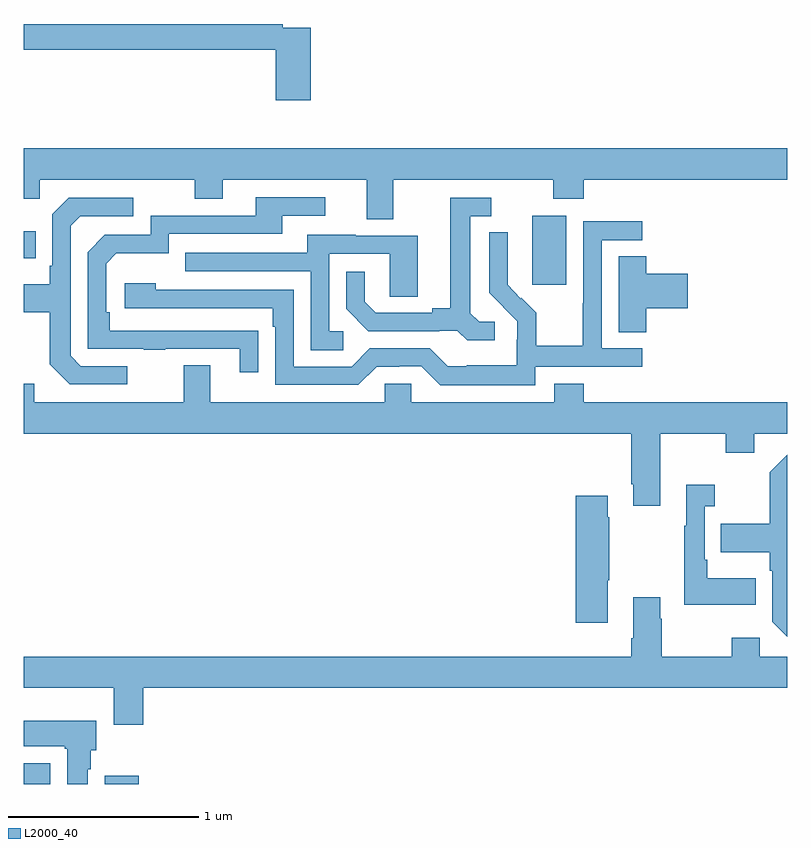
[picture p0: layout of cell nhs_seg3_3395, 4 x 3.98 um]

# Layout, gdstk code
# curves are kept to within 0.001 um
import gdstk
lib = gdstk.Library(unit=1e-6, precision=1e-09)
def R(c, l, rs):  # rectangles x0, y0, x1, y1
    for r in rs: c.add(gdstk.rectangle(r[:2], r[2:], *l))
def P(c, l, *ps):  # polygons
    for p in ps: c.add(gdstk.Polygon(p, *l))
L2000_40 = (2000, 40)

nhs_seg3_3395 = lib.new_cell('nhs_seg3_3395')
R(nhs_seg3_3395, L2000_40, [(287,712.4,287.139,712.51), (287.423,712.4,287.602,712.444), (289.664,715.017,289.843,715.378), (287,715.157,287.063,715.297)])
P(nhs_seg3_3395, L2000_40, [(288.503,716.364),(288.356,716.364),(288.356,716.384),(287,716.384),(287,716.248),(288.32,716.248),(288.32,715.983),(288.503,715.983)],
  [(288.937,715.568),(289.774,715.568),(289.774,715.469),(289.934,715.469),(289.934,715.568),(291,715.568),(291,715.732),(287,715.732),(287,715.469),(287.082,715.469),(287.082,715.568),(287.896,715.568),(287.896,715.469),(288.043,715.469),(288.043,715.568),(288.797,715.568),(288.797,715.36),(288.937,715.36)],
  [(288.227,714.776),(287.45,714.777),(287.45,714.874),(287.43,714.874),(287.43,715.128),(287.483,715.181),(287.76,715.181),(287.76,715.284),(288.355,715.284),(288.355,715.38),(288.58,715.38),(288.58,715.476),(288.215,715.476),(288.215,715.38),(287.664,715.38),(287.664,715.278),(287.424,715.278),(287.334,715.188),(287.334,714.681),(287.629,714.681),(287.629,714.676),(287.741,714.676),(287.741,714.681),(288.131,714.681),(288.131,714.558),(288.227,714.558)],
  [(287.542,714.591),(287.298,714.591),(287.244,714.645),(287.244,715.326),(287.295,715.377),(287.572,715.377),(287.572,715.473),(287.235,715.473),(287.148,715.386),(287.148,715.117),(287.136,715.117),(287.136,715.021),(287,715.021),(287,714.874),(287.136,714.874),(287.136,714.601),(287.241,714.495),(287.542,714.495)],
  [(289.468,714.822),(289.386,714.822),(289.339,714.869),(289.339,715.377),(289.45,715.377),(289.45,715.473),(289.235,715.473),(289.235,714.893),(289.139,714.893),(289.139,714.87),(288.844,714.87),(288.787,714.927),(288.787,715.084),(288.69,715.084),(288.69,714.89),(288.806,714.774),(289.178,714.774),(289.178,714.777),(289.272,714.777),(289.324,714.725),(289.468,714.725)],
  [(289.68,714.588),(290.242,714.588),(290.242,714.684),(290.028,714.684),(290.028,715.251),(290.242,715.251),(290.242,715.35),(289.932,715.35),(289.932,714.92),(289.93,714.92),(289.93,714.697),(289.685,714.697),(289.685,714.871),(289.608,714.948),(289.605,714.945),(289.535,715.016),(289.536,715.292),(289.44,715.292),(289.44,714.974),(289.586,714.826),(289.586,714.729),(289.584,714.729),(289.584,714.595),(289.321,714.595),(289.321,714.591),(289.221,714.591),(289.128,714.684),(288.813,714.684),(288.717,714.588),(288.414,714.588),(288.414,714.99),(287.69,714.99),(287.69,715.024),(287.529,715.024),(287.529,714.894),(288.305,714.894),(288.305,714.797),(288.318,714.797),(288.318,714.492),(288.753,714.492),(288.849,714.588),(288.968,714.588),(288.968,714.591),(289.083,714.591),(289.183,714.491),(289.68,714.491)],
  [(288.673,714.774),(288.6,714.774),(288.6,715.179),(288.918,715.179),(288.918,714.955),(289.063,714.955),(289.063,715.275),(288.739,715.275),(288.739,715.279),(288.485,715.279),(288.485,715.185),(287.845,715.185),(287.845,715.089),(288.504,715.089),(288.504,714.673),(288.673,714.673)],
  [(290.261,714.893),(290.479,714.893),(290.479,715.076),(290.261,715.076),(290.261,715.166),(290.117,715.166),(290.117,714.769),(290.261,714.769)],
  [(290.335,714.236),(290.68,714.236),(290.68,714.137),(290.827,714.137),(290.827,714.236),(291,714.236),(291,714.4),(289.934,714.4),(289.934,714.499),(289.781,714.499),(289.781,714.4),(289.029,714.4),(289.029,714.498),(288.891,714.498),(288.891,714.4),(287.977,714.4),(287.977,714.595),(287.837,714.595),(287.837,714.4),(287.053,714.4),(287.053,714.499),(287,714.499),(287,714.236),(290.183,714.236),(290.183,713.971),(290.195,713.971),(290.195,713.859),(290.335,713.859)],
  [(291,714.126),(290.91,714.035),(290.91,713.763),(290.653,713.763),(290.653,713.615),(290.91,713.615),(290.91,713.519),(290.922,713.519),(290.922,713.25),(291,713.172)],
  [(290.837,713.479),(290.581,713.479),(290.581,713.575),(290.568,713.575),(290.568,713.855),(290.62,713.855),(290.62,713.968),(290.471,713.968),(290.471,713.755),(290.46,713.755),(290.46,713.339),(290.837,713.339)],
  [(290.059,713.467),(290.067,713.467),(290.067,713.798),(290.059,713.798),(290.059,713.911),(289.892,713.911),(289.892,713.244),(290.059,713.244)],
  [(287.624,712.904),(291,712.904),(291,713.068),(290.856,713.068),(290.856,713.167),(290.71,713.167),(290.71,713.068),(290.343,713.068),(290.343,713.267),(290.335,713.267),(290.335,713.38),(290.195,713.38),(290.195,713.164),(290.183,713.164),(290.183,713.068),(287,713.068),(287,712.904),(287.471,712.904),(287.471,712.71),(287.624,712.71)],
  [(287.335,712.478),(287.35,712.478),(287.35,712.578),(287.38,712.578),(287.38,712.732),(287,712.732),(287,712.598),(287.215,712.598),(287.215,712.585),(287.228,712.585),(287.228,712.4),(287.335,712.4)])

lib.write_gds('nhs_seg3_3395.gds')
